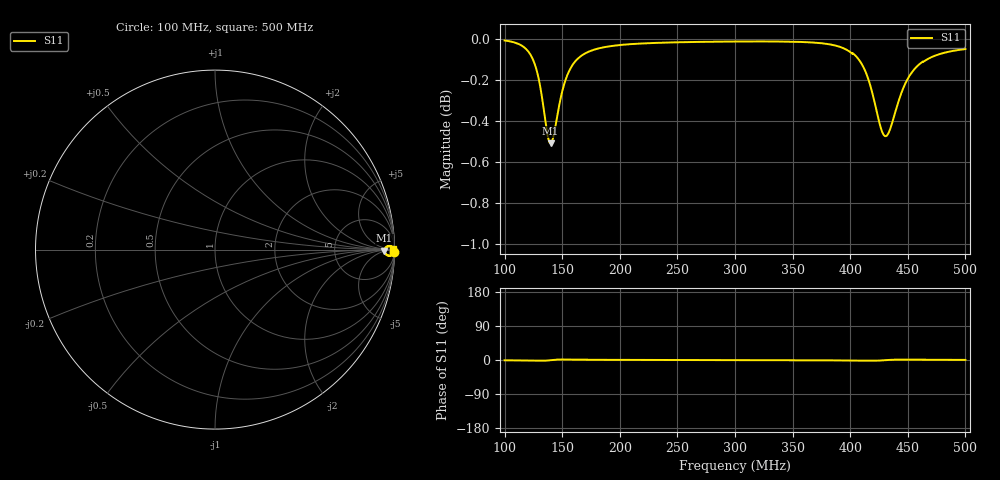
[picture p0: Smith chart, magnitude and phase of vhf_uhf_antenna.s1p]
# MHz Z RI R 1
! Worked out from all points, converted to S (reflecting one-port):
!   4001 points, 100 MHz to 500 MHz, reference 1 ohm
!   lowest |S11| = -0.5 dB at 139.9 MHz (marker M1), VSWR 34.10, Z = 33.7 - j3.8 ohm
!   phase of S11 starts at -1 deg and turns +1 deg over the sweep
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100  12.48 -152.3
120.9  21.15 -71.8
126.7  24.38 -50.84
131.5  27.41 -33.7
135.5  30.22 -19.47
137.9  32.06 -10.93
139.9  33.67 -3.8
142  35.56 3.36
144.7  38.03 13.07
150  43.43 32.35
156.7  51.53 57.4
165.4  64.25 91.82
200  177.8 257.3
250  944.8 -95.33
300  165.6 -414.5
350  39.03 -206.3
379.4  24.35 -125.6
400  23.68 -75.63
411  25.95 -51.94
419.8  29.38 -31.23
424.7  31.97 -19.58
430.1  35.44 -6.61
434.8  39.05 4.84
438.8  42.62 14.72
443.5  47.44 26.5
450  55.42 43.11
468.6  88.36 90.61
500  210.9 165.2
